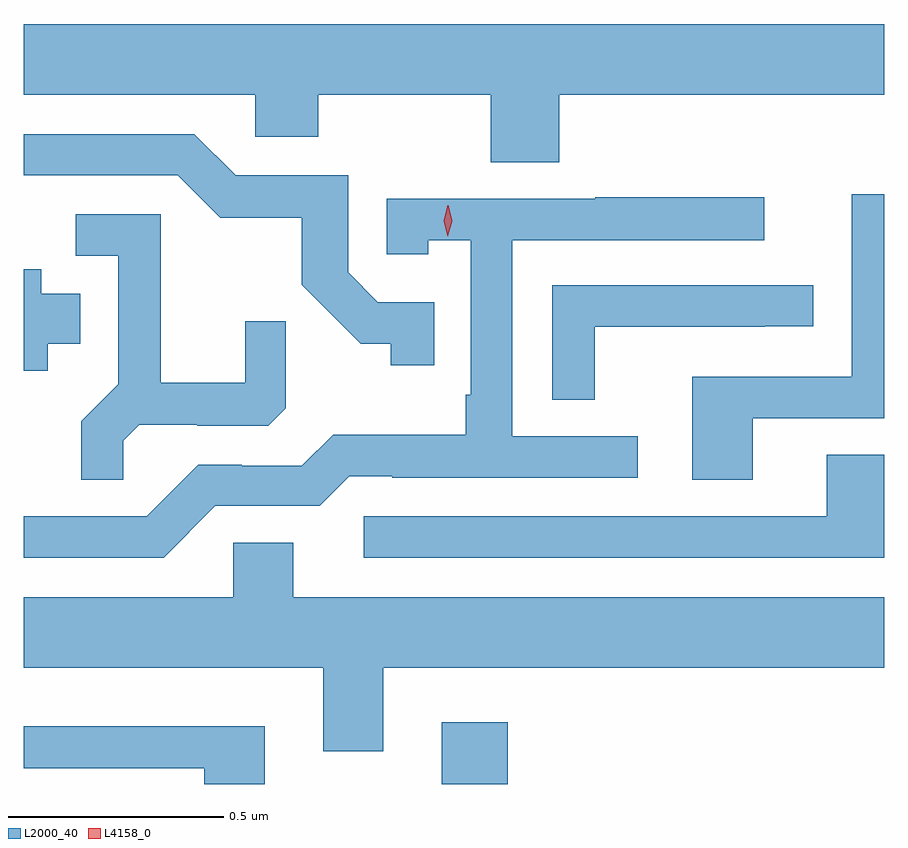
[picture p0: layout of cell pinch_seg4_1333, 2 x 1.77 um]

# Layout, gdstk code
import gdstk
lib = gdstk.Library(unit=1e-6, precision=1e-09)
def R(c, l, rs):  # rectangles x0, y0, x1, y1
    for r in rs: c.add(gdstk.rectangle(r[:2], r[2:], *l))
def P(c, l, *ps):  # polygons
    for p in ps: c.add(gdstk.Polygon(p, *l))
L2000_40 = (2000, 40)
L4158_0 = (4158, 0)

pinch_seg4_1333 = lib.new_cell('pinch_seg4_1333')
R(pinch_seg4_1333, L2000_40, [(390.881,769.91,391.034,770.053)])
P(pinch_seg4_1333, L2000_40, [(391.154,771.512),(391.909,771.512),(391.909,771.676),(389.909,771.676),(389.909,771.512),(390.447,771.512),(390.447,771.414),(390.594,771.414),(390.594,771.512),(390.994,771.512),(390.994,771.355),(391.154,771.355)],
  [(390.863,771.03),(390.732,771.03),(390.663,771.099),(390.663,771.324),(390.402,771.324),(390.306,771.42),(389.909,771.42),(389.909,771.324),(390.267,771.324),(390.366,771.226),(390.555,771.226),(390.555,771.07),(390.692,770.933),(390.762,770.933),(390.762,770.883),(390.863,770.883)],
  [(391.603,770.76),(391.909,770.76),(391.909,771.28),(391.833,771.28),(391.833,770.856),(391.463,770.856),(391.463,770.617),(391.603,770.617)],
  [(390.354,770.556),(390.597,770.556),(390.666,770.625),(390.766,770.625),(390.766,770.622),(391.336,770.622),(391.336,770.718),(391.044,770.718),(391.044,771.174),(391.63,771.174),(391.63,771.273),(391.237,771.273),(391.237,771.27),(390.753,771.27),(390.753,771.141),(390.849,771.141),(390.849,771.173),(390.948,771.173),(390.948,770.815),(390.936,770.815),(390.936,770.722),(390.628,770.722),(390.555,770.649),(390.416,770.649),(390.416,770.652),(390.315,770.652),(390.195,770.532),(389.909,770.532),(389.909,770.436),(390.234,770.436)],
  [(390.141,770.708),(390.178,770.745),(390.312,770.745),(390.312,770.742),(390.477,770.742),(390.518,770.783),(390.518,770.985),(390.424,770.985),(390.424,770.842),(390.227,770.842),(390.227,771.234),(390.03,771.234),(390.03,771.138),(390.129,771.138),(390.129,770.839),(390.043,770.753),(390.043,770.617),(390.141,770.617)],
  [(389.965,770.933),(390.04,770.933),(390.04,771.049),(389.95,771.049),(389.95,771.106),(389.909,771.106),(389.909,770.87),(389.965,770.87)],
  [(391.236,770.973),(391.631,770.973),(391.631,770.974),(391.744,770.974),(391.744,771.069),(391.137,771.069),(391.137,770.803),(391.236,770.803)],
  [(391.909,770.675),(391.775,770.675),(391.775,770.532),(390.699,770.532),(390.699,770.436),(391.909,770.436)],
  [(390.745,770.18),(391.909,770.18),(391.909,770.344),(390.535,770.344),(390.535,770.471),(390.396,770.471),(390.396,770.344),(389.909,770.344),(389.909,770.18),(390.605,770.18),(390.605,769.986),(390.745,769.986)],
  [(390.469,770.044),(389.909,770.044),(389.909,769.947),(390.329,769.947),(390.329,769.91),(390.469,769.91)])
P(pinch_seg4_1333, L4158_0, [(390.894,771.183),(390.894,771.183),(390.885,771.219),(390.895,771.255),(390.895,771.255),(390.896,771.255),(390.905,771.219),(390.895,771.183)])

lib.write_gds('pinch_seg4_1333.gds')
